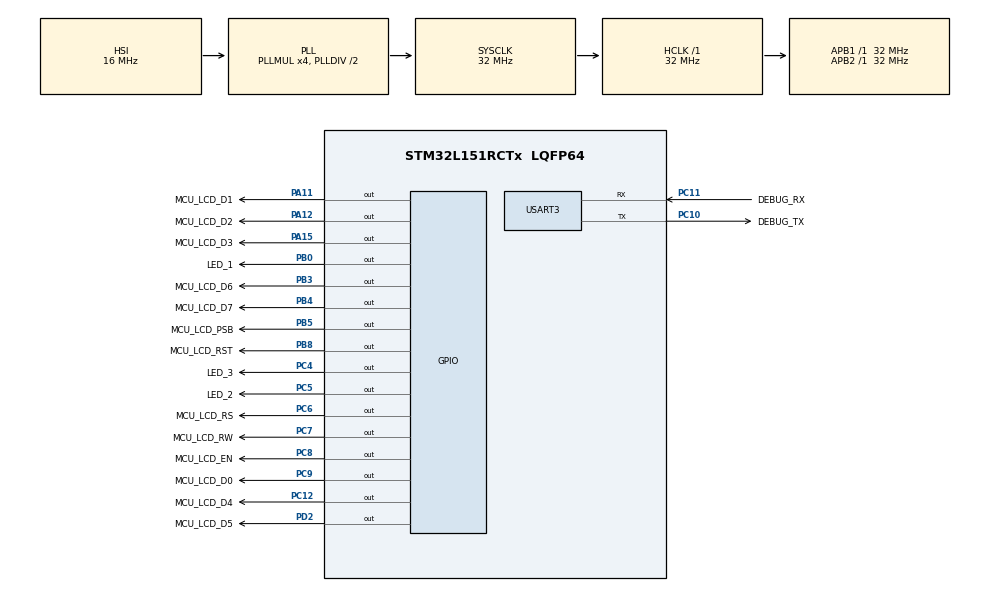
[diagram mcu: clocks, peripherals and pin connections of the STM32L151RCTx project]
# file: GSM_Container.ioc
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Mcu.Family=STM32L1
Mcu.Name=STM32L151RCTx
Mcu.Package=LQFP64
NVIC.PriorityGroup=NVIC_PRIORITYGROUP_4
PA11.GPIO_Label=MCU_LCD_D1
PA11.Signal=GPIO_Output
PA12.GPIO_Label=MCU_LCD_D2
PA12.Signal=GPIO_Output
PA13.Mode=Serial_Wire
PA13.Signal=SYS_JTMS-SWDIO
PA14.Mode=Serial_Wire
PA14.Signal=SYS_JTCK-SWCLK
PA15.GPIO_Label=MCU_LCD_D3
PA15.Signal=GPIO_Output
PB0.GPIO_Label=LED_1
PB0.Signal=GPIO_Output
PB3.GPIO_Label=MCU_LCD_D6
PB3.Signal=GPIO_Output
PB4.GPIO_Label=MCU_LCD_D7
PB4.Signal=GPIO_Output
PB5.GPIO_Label=MCU_LCD_PSB
PB5.Signal=GPIO_Output
PB8.GPIO_Label=MCU_LCD_RST
PB8.Signal=GPIO_Output
PC10.GPIO_Label=DEBUG_TX
PC10.GPIO_ModeDefaultPP=GPIO_MODE_AF_PP
PC10.GPIO_PuPd=GPIO_PULLUP
PC10.Mode=Asynchronous
PC10.Signal=USART3_TX
PC11.GPIO_Label=DEBUG_RX
PC11.GPIO_ModeDefaultPP=GPIO_MODE_AF_PP
PC11.GPIO_PuPd=GPIO_PULLUP
PC11.Mode=Asynchronous
PC11.Signal=USART3_RX
PC12.GPIO_Label=MCU_LCD_D4
PC12.Signal=GPIO_Output
PC14-OSC32_IN.Mode=LSE-External-Oscillator
PC14-OSC32_IN.Signal=RCC_OSC32_IN
PC15-OSC32_OUT.Mode=LSE-External-Oscillator
PC15-OSC32_OUT.Signal=RCC_OSC32_OUT
PC4.GPIO_Label=LED_3
PC4.Signal=GPIO_Output
PC5.GPIO_Label=LED_2
PC5.Signal=GPIO_Output
PC6.GPIO_Label=MCU_LCD_RS
PC6.Signal=GPIO_Output
PC7.GPIO_Label=MCU_LCD_RW
PC7.Signal=GPIO_Output
PC8.GPIO_Label=MCU_LCD_EN
PC8.Signal=GPIO_Output
PC9.GPIO_Label=MCU_LCD_D0
PC9.Signal=GPIO_Output
PD2.GPIO_Label=MCU_LCD_D5
PD2.Signal=GPIO_Output
ProjectManager.HeapSize=0x200
ProjectManager.StackSize=0x400
ProjectManager.TargetToolchain=EWARM V8.32
RCC.48MHZClocksFreq_Value=32000000
RCC.AHBFreq_Value=32000000
RCC.APB1Freq_Value=32000000
RCC.APB1TimFreq_Value=32000000
RCC.APB2Freq_Value=32000000
RCC.APB2TimFreq_Value=32000000
RCC.HCLKFreq_Value=32000000
RCC.HSE_VALUE=24000000
RCC.HSI_VALUE=16000000
RCC.MSI_VALUE=2097000
RCC.PLLMUL=RCC_PLL_MUL4
RCC.RTCClockSelectionVirtual=RCC_RTCCLKSOURCE_LSE
RCC.SYSCLKFreq_VALUE=32000000
RCC.SYSCLKSource=RCC_SYSCLKSOURCE_PLLCLK
RCC.VCOOutputFreq_Value=64000000
USART3.VirtualMode=VM_ASYNC
board=custom

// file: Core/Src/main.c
/* USER CODE BEGIN Header */
/**
  ******************************************************************************
  * @file           : main.c
  * @brief          : Main program body
  ******************************************************************************
  * @attention
  *
  * Copyright (c) 2022 STMicroelectronics.
  * All rights reserved.
  *
  * This software is licensed under terms that can be found in the LICENSE file
  * in the root directory of this software component.
  * If no LICENSE file comes with this software, it is provided AS-IS.
  *
  ******************************************************************************
  */
/* USER CODE END Header */
#include "main.h"
#include "usart.h"
#include "gpio.h"

/* USER CODE BEGIN Includes */
#include "onchipflash.h"
#include "user_internal_mem.h"
#include "GLCD192x64.h"
/* USER CODE END Includes */

/* USER CODE BEGIN PV */
uint32_t	HaveNewFirmware = 0;
uint32_t	NewFirmwareSize = 0;
uint32_t	JumpAddress;
uint32_t	i = 0;

typedef  void (*pFunction)(void);
pFunction Jump_To_Application;

/* USER CODE END PV */

void SystemClock_Config(void);

int main(void)
{

  /* MCU Configuration--------------------------------------------------------*/

  /* Reset of all peripherals, Initializes the Flash interface and the Systick. */
  HAL_Init();

  /* Configure the system clock */
  SystemClock_Config();

  /* Initialize all configured peripherals */
  MX_GPIO_Init();
  MX_USART3_UART_Init();
  /* USER CODE BEGIN 2 */

    UTIL_Printf_Str (DBLEVEL_L, "\r\n=========================\r\n");
    UTIL_Printf_Str (DBLEVEL_L,     "=====USER BOOT LOADER====\r\n");
    UTIL_Printf_Str (DBLEVEL_L,     "=========================\r\n");

    HaveNewFirmware = *(__IO uint32_t*)(ADDR_FLAG_HAVE_NEW_FW);
	NewFirmwareSize = *(__IO uint32_t*)(ADDR_FLAG_HAVE_NEW_FW + 0x04);
	if (HaveNewFirmware == 0xAA)
	{
	    GLCD_Initialize();
        GLCD_ClearScreen();
        GLCD_WriteString((char*)"MACHINE CONTROL OXY",0,7,1);
        GLCD_WriteString((char*)"SAO VIET",3,42,1);
        GLCD_WriteString((char*)"Update Firmware",5,20,1);
        GLCD_WriteString((char*)"Please wait...",7,25,1);

        UTIL_Printf_Str (_VLEVEL_DEBUG, "u_main: find new image\r\n");
        HAL_GPIO_WritePin(LED_1_GPIO_Port, LED_1_Pin, GPIO_PIN_SET);

        UTIL_Printf_Str (_VLEVEL_DEBUG, "u_main: erase main image\r\n");
        Erase_Firmware (ADDR_MAIN_PROGRAM, FIRMWARE_SIZE_PAGE);

		// Copy new firmware to right position
        UTIL_Printf_Str (_VLEVEL_DEBUG, "u_main: copy new image to main\r\n");
		OnchipFlashCopy(ADDR_UPDATE_PROGRAM, ADDR_MAIN_PROGRAM, NewFirmwareSize);

		//Clear new firmware flag
        UTIL_Printf_Str (_VLEVEL_DEBUG, "u_main: erase mark new image\r\n");
//        HAL_GPIO_WritePin(LED_2_GPIO_Port, LED_2_Pin, GPIO_PIN_SET);
		OnchipFlashPageErase(ADDR_FLAG_HAVE_NEW_FW);
	}

    UTIL_Printf_Str (_VLEVEL_DEBUG, "u_main: jum to application\r\n");
//    HAL_GPIO_WritePin(LED_3_GPIO_Port, LED_3_Pin, GPIO_PIN_SET);

    /*  them 21_04 */
	HAL_RCC_DeInit();
	HAL_DeInit();
	SCB->SHCSR &= ~( SCB_SHCSR_USGFAULTENA_Msk |\
					SCB_SHCSR_BUSFAULTENA_Msk |\
					SCB_SHCSR_MEMFAULTENA_Msk );

//	__disable_irq();

	JumpAddress = *((__IO uint32_t*)(ADDR_MAIN_PROGRAM + 0x04));

	Jump_To_Application = (pFunction) JumpAddress;

	// Initialize user application's Stack Pointer
	__set_MSP(*(__IO uint32_t*) ADDR_MAIN_PROGRAM);

	Jump_To_Application();
  /* USER CODE END 2 */

  /* Infinite loop */
  while (1)
  {

  }
}

void SystemClock_Config(void)
{
  RCC_OscInitTypeDef RCC_OscInitStruct = {0};
  RCC_ClkInitTypeDef RCC_ClkInitStruct = {0};

  /** Configure the main internal regulator output voltage
  */
  __HAL_PWR_VOLTAGESCALING_CONFIG(PWR_REGULATOR_VOLTAGE_SCALE1);

  /** Initializes the RCC Oscillators according to the specified parameters
  * in the RCC_OscInitTypeDef structure.
  */
  RCC_OscInitStruct.OscillatorType = RCC_OSCILLATORTYPE_HSI;
  RCC_OscInitStruct.HSIState = RCC_HSI_ON;
  RCC_OscInitStruct.HSICalibrationValue = RCC_HSICALIBRATION_DEFAULT;
  RCC_OscInitStruct.PLL.PLLState = RCC_PLL_ON;
  RCC_OscInitStruct.PLL.PLLSource = RCC_PLLSOURCE_HSI;
  RCC_OscInitStruct.PLL.PLLMUL = RCC_PLL_MUL4;
  RCC_OscInitStruct.PLL.PLLDIV = RCC_PLL_DIV2;
  if (HAL_RCC_OscConfig(&RCC_OscInitStruct) != HAL_OK)
  {
    Error_Handler();
  }

  /** Initializes the CPU, AHB and APB buses clocks
  */
  RCC_ClkInitStruct.ClockType = RCC_CLOCKTYPE_HCLK|RCC_CLOCKTYPE_SYSCLK
                              |RCC_CLOCKTYPE_PCLK1|RCC_CLOCKTYPE_PCLK2;
  RCC_ClkInitStruct.SYSCLKSource = RCC_SYSCLKSOURCE_PLLCLK;
  RCC_ClkInitStruct.AHBCLKDivider = RCC_SYSCLK_DIV1;
  RCC_ClkInitStruct.APB1CLKDivider = RCC_HCLK_DIV1;
  RCC_ClkInitStruct.APB2CLKDivider = RCC_HCLK_DIV1;

  if (HAL_RCC_ClockConfig(&RCC_ClkInitStruct, FLASH_LATENCY_1) != HAL_OK)
  {
    Error_Handler();
  }
}

void Error_Handler(void)
{
  __disable_irq();
  while (1)
  {
  }
}
